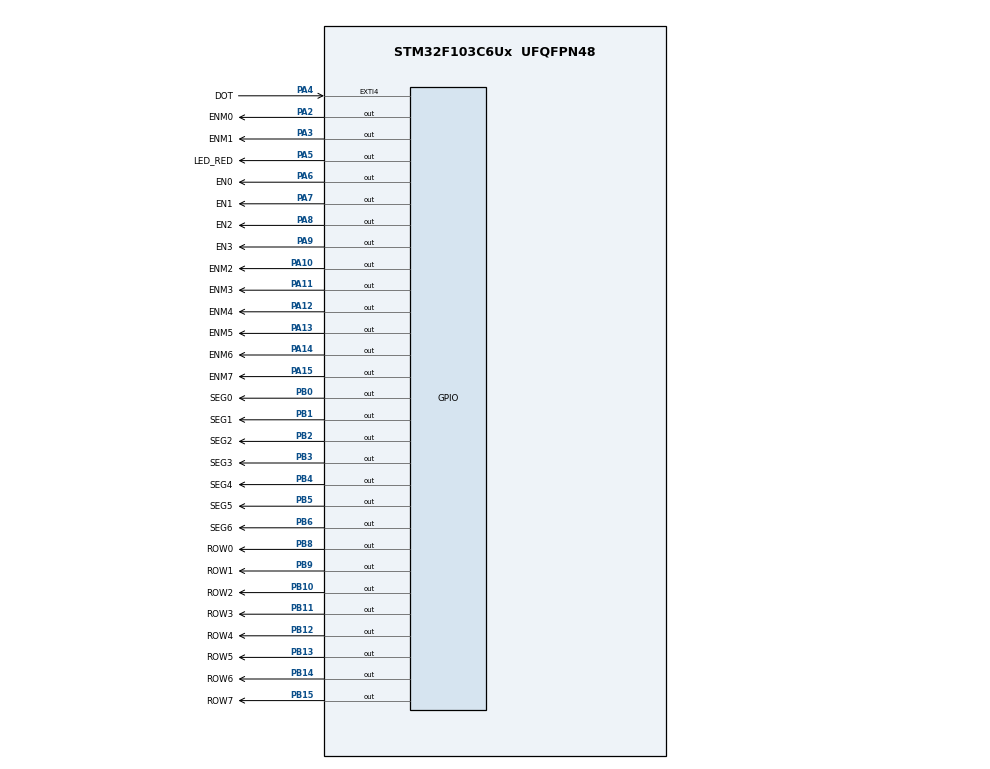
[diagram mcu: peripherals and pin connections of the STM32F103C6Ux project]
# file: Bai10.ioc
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Mcu.Family=STM32F1
Mcu.Name=STM32F103C6Ux
Mcu.Package=UFQFPN48
NVIC.PriorityGroup=NVIC_PRIORITYGROUP_4
NVIC.TIM2_IRQn=true\:0\:0\:false\:false\:true\:true\:true\:true
PA10.GPIO_Label=ENM2
PA10.Signal=GPIO_Output
PA11.GPIO_Label=ENM3
PA11.Signal=GPIO_Output
PA12.GPIO_Label=ENM4
PA12.Signal=GPIO_Output
PA13.GPIO_Label=ENM5
PA13.Signal=GPIO_Output
PA14.GPIO_Label=ENM6
PA14.Signal=GPIO_Output
PA15.GPIO_Label=ENM7
PA15.Signal=GPIO_Output
PA2.GPIO_Label=ENM0
PA2.Signal=GPIO_Output
PA3.GPIO_Label=ENM1
PA3.Signal=GPIO_Output
PA4.GPIO_Label=DOT
PA4.Signal=GPXTI4
PA5.GPIO_Label=LED_RED
PA5.Signal=GPIO_Output
PA6.GPIO_Label=EN0
PA6.Signal=GPIO_Output
PA7.GPIO_Label=EN1
PA7.Signal=GPIO_Output
PA8.GPIO_Label=EN2
PA8.Signal=GPIO_Output
PA9.GPIO_Label=EN3
PA9.Signal=GPIO_Output
PB0.GPIO_Label=SEG0
PB0.Signal=GPIO_Output
PB1.GPIO_Label=SEG1
PB1.Signal=GPIO_Output
PB10.GPIO_Label=ROW2
PB10.Signal=GPIO_Output
PB11.GPIO_Label=ROW3
PB11.Signal=GPIO_Output
PB12.GPIO_Label=ROW4
PB12.Signal=GPIO_Output
PB13.GPIO_Label=ROW5
PB13.Signal=GPIO_Output
PB14.GPIO_Label=ROW6
PB14.Signal=GPIO_Output
PB15.GPIO_Label=ROW7
PB15.Signal=GPIO_Output
PB2.GPIO_Label=SEG2
PB2.Signal=GPIO_Output
PB3.GPIO_Label=SEG3
PB3.Signal=GPIO_Output
PB4.GPIO_Label=SEG4
PB4.Signal=GPIO_Output
PB5.GPIO_Label=SEG5
PB5.Signal=GPIO_Output
PB6.GPIO_Label=SEG6
PB6.Signal=GPIO_Output
PB8.GPIO_Label=ROW0
PB8.Signal=GPIO_Output
PB9.GPIO_Label=ROW1
PB9.Signal=GPIO_Output
ProjectManager.HeapSize=0x200
ProjectManager.StackSize=0x400
ProjectManager.TargetToolchain=STM32CubeIDE
RCC.APB1Freq_Value=8000000
RCC.APB2Freq_Value=8000000
TIM2.Period=9
TIM2.Prescaler=7999
VP_SYS_VS_ND.Mode=No_Debug
VP_TIM2_VS_ClockSourceINT.Mode=Internal
board=custom

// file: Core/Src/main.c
/* USER CODE BEGIN Header */
/**
 ******************************************************************************
 * @file           : main.c
 * @brief          : Main program body
 ******************************************************************************
 * @attention
 *
 * Copyright (c) 2022 STMicroelectronics.
 * All rights reserved.
 *
 * This software is licensed under terms that can be found in the LICENSE file
 * in the root directory of this software component.
 * If no LICENSE file comes with this software, it is provided AS-IS.
 *
 ******************************************************************************
 */
/* USER CODE END Header */
#include "main.h"

TIM_HandleTypeDef htim2;

void SystemClock_Config(void);
static void MX_GPIO_Init(void);
static void MX_TIM2_Init(void);

/* USER CODE BEGIN 0 */

int timer0_counter = 0;
int timer0_flag = 0;
int TIMER_CYCLE = 10;
void setTimer0(int duration) {
	timer0_counter = duration / TIMER_CYCLE;
	timer0_flag = 0;
}

void timer_run() {
	if (timer0_counter > 0) {
		timer0_counter--;
		if (timer0_counter == 0)
			timer0_flag = 1;
	}
}

void clearLEDMatrix() {
	HAL_GPIO_WritePin(ROW0_GPIO_Port, ROW0_Pin, 1);
	HAL_GPIO_WritePin(ROW1_GPIO_Port, ROW1_Pin, 1);
	HAL_GPIO_WritePin(ROW2_GPIO_Port, ROW2_Pin, 1);
	HAL_GPIO_WritePin(ROW3_GPIO_Port, ROW3_Pin, 1);
	HAL_GPIO_WritePin(ROW4_GPIO_Port, ROW4_Pin, 1);
	HAL_GPIO_WritePin(ROW5_GPIO_Port, ROW5_Pin, 1);
	HAL_GPIO_WritePin(ROW6_GPIO_Port, ROW6_Pin, 1);
	HAL_GPIO_WritePin(ROW7_GPIO_Port, ROW7_Pin, 1);
}

void displayLEDMatrix(uint8_t num) {
	HAL_GPIO_WritePin(ENM0_GPIO_Port, ENM0_Pin, !((num >> 0) & 1));
	HAL_GPIO_WritePin(ENM1_GPIO_Port, ENM1_Pin, !((num >> 1) & 1));
	HAL_GPIO_WritePin(ENM2_GPIO_Port, ENM2_Pin, !((num >> 2) & 1));
	HAL_GPIO_WritePin(ENM3_GPIO_Port, ENM3_Pin, !((num >> 3) & 1));
	HAL_GPIO_WritePin(ENM4_GPIO_Port, ENM4_Pin, !((num >> 4) & 1));
	HAL_GPIO_WritePin(ENM5_GPIO_Port, ENM5_Pin, !((num >> 5) & 1));
	HAL_GPIO_WritePin(ENM6_GPIO_Port, ENM6_Pin, !((num >> 6) & 1));
	HAL_GPIO_WritePin(ENM7_GPIO_Port, ENM7_Pin, !((num >> 7) & 1));
}

const int MAX_LED_MATRIX = 8;
int index_led_matrix = 0;
uint8_t matrix_buffer[8] = {0x3c,0x7e,0x66,0x66,0x7e,0x66,0x66,0x66};
void updateLEDMatrix(int index) {
	switch (index) {
	case 0:
		HAL_GPIO_WritePin(ROW7_GPIO_Port, ROW7_Pin, 1);
		HAL_GPIO_WritePin(ROW0_GPIO_Port, ROW0_Pin, 0);
		displayLEDMatrix(matrix_buffer[index]);
		break;
	case 1:
		HAL_GPIO_WritePin(ROW0_GPIO_Port, ROW0_Pin, 1);
		HAL_GPIO_WritePin(ROW1_GPIO_Port, ROW1_Pin, 0);
		displayLEDMatrix(matrix_buffer[index]);
		break;
	case 2:
		HAL_GPIO_WritePin(ROW1_GPIO_Port, ROW1_Pin, 1);
		HAL_GPIO_WritePin(ROW2_GPIO_Port, ROW2_Pin, 0);
		displayLEDMatrix(matrix_buffer[index]);
		break;
	case 3:
		HAL_GPIO_WritePin(ROW2_GPIO_Port, ROW2_Pin, 1);
		HAL_GPIO_WritePin(ROW3_GPIO_Port, ROW3_Pin, 0);
		displayLEDMatrix(matrix_buffer[index]);
		break;
	case 4:
		HAL_GPIO_WritePin(ROW3_GPIO_Port, ROW3_Pin, 1);
		HAL_GPIO_WritePin(ROW4_GPIO_Port, ROW4_Pin, 0);
		displayLEDMatrix(matrix_buffer[index]);
		break;
	case 5:
		HAL_GPIO_WritePin(ROW4_GPIO_Port, ROW4_Pin, 1);
		HAL_GPIO_WritePin(ROW5_GPIO_Port, ROW5_Pin, 0);
		displayLEDMatrix(matrix_buffer[index]);
		break;
	case 6:
		HAL_GPIO_WritePin(ROW5_GPIO_Port, ROW5_Pin, 1);
		HAL_GPIO_WritePin(ROW6_GPIO_Port, ROW6_Pin, 0);
		displayLEDMatrix(matrix_buffer[index]);
		break;
	case 7:
		HAL_GPIO_WritePin(ROW6_GPIO_Port, ROW6_Pin, 1);
		HAL_GPIO_WritePin(ROW7_GPIO_Port, ROW7_Pin, 0);
		displayLEDMatrix(matrix_buffer[index]);
		break;
	default:
		break;
	}
}

void shiftLeft() {
	//shift MSB to LSB matrix_buffer [0]
	matrix_buffer[0] = (matrix_buffer[0] << 1) + (matrix_buffer[0] >> 7);
	//shift MSB to LSB matrix_buffer [1]
	matrix_buffer[1] = (matrix_buffer[1] << 1) + (matrix_buffer[1] >> 7);
	//shift MSB to LSB matrix_buffer [2]
	matrix_buffer[2] = (matrix_buffer[2] << 1) + (matrix_buffer[2] >> 7);
	//shift MSB to LSB matrix_buffer [3]
	matrix_buffer[3] = (matrix_buffer[3] << 1) + (matrix_buffer[3] >> 7);
	//shift MSB to LSB matrix_buffer [4]
	matrix_buffer[4] = (matrix_buffer[4] << 1) + (matrix_buffer[4] >> 7);
	//shift MSB to LSB matrix_buffer [5]
	matrix_buffer[5] = (matrix_buffer[5] << 1) + (matrix_buffer[5] >> 7);
	//shift MSB to LSB matrix_buffer [6]
	matrix_buffer[6] = (matrix_buffer[6] << 1) + (matrix_buffer[6] >> 7);
	//shift MSB to LSB matrix_buffer [7]
	matrix_buffer[7] = (matrix_buffer[7] << 1) + (matrix_buffer[7] >> 7);
}
/* USER CODE END 0 */

int main(void) {

	/* MCU Configuration--------------------------------------------------------*/

	/* Reset of all peripherals, Initializes the Flash interface and the Systick. */
	HAL_Init();

	/* Configure the system clock */
	SystemClock_Config();

	/* Initialize all configured peripherals */
	MX_GPIO_Init();
	MX_TIM2_Init();
	/* USER CODE BEGIN 2 */
	HAL_TIM_Base_Start_IT(&htim2);
	/* USER CODE END 2 */

	/* Infinite loop */
	/* USER CODE BEGIN WHILE */

	setTimer0(10);
	int index = 0;
	clearLEDMatrix();
	while (1) {
		if (timer0_flag == 1) {
			setTimer0(10);
			updateLEDMatrix(index++);
			if (index > 7) {
				shiftLeft();
				index = 0;
			}
		}

		/* USER CODE END WHILE */

	}
}

void SystemClock_Config(void) {
	RCC_OscInitTypeDef RCC_OscInitStruct = { 0 };
	RCC_ClkInitTypeDef RCC_ClkInitStruct = { 0 };

	/** Initializes the RCC Oscillators according to the specified parameters
	 * in the RCC_OscInitTypeDef structure.
	 */
	RCC_OscInitStruct.OscillatorType = RCC_OSCILLATORTYPE_HSI;
	RCC_OscInitStruct.HSIState = RCC_HSI_ON;
	RCC_OscInitStruct.HSICalibrationValue = RCC_HSICALIBRATION_DEFAULT;
	RCC_OscInitStruct.PLL.PLLState = RCC_PLL_NONE;
	if (HAL_RCC_OscConfig(&RCC_OscInitStruct) != HAL_OK) {
		Error_Handler();
	}

	/** Initializes the CPU, AHB and APB buses clocks
	 */
	RCC_ClkInitStruct.ClockType = RCC_CLOCKTYPE_HCLK | RCC_CLOCKTYPE_SYSCLK
			| RCC_CLOCKTYPE_PCLK1 | RCC_CLOCKTYPE_PCLK2;
	RCC_ClkInitStruct.SYSCLKSource = RCC_SYSCLKSOURCE_HSI;
	RCC_ClkInitStruct.AHBCLKDivider = RCC_SYSCLK_DIV1;
	RCC_ClkInitStruct.APB1CLKDivider = RCC_HCLK_DIV1;
	RCC_ClkInitStruct.APB2CLKDivider = RCC_HCLK_DIV1;

	if (HAL_RCC_ClockConfig(&RCC_ClkInitStruct, FLASH_LATENCY_0) != HAL_OK) {
		Error_Handler();
	}
}

static void MX_TIM2_Init(void) {

	TIM_ClockConfigTypeDef sClockSourceConfig = { 0 };
	TIM_MasterConfigTypeDef sMasterConfig = { 0 };

	htim2.Instance = TIM2;
	htim2.Init.Prescaler = 7999;
	htim2.Init.CounterMode = TIM_COUNTERMODE_UP;
	htim2.Init.Period = 9;
	htim2.Init.ClockDivision = TIM_CLOCKDIVISION_DIV1;
	htim2.Init.AutoReloadPreload = TIM_AUTORELOAD_PRELOAD_DISABLE;
	if (HAL_TIM_Base_Init(&htim2) != HAL_OK) {
		Error_Handler();
	}
	sClockSourceConfig.ClockSource = TIM_CLOCKSOURCE_INTERNAL;
	if (HAL_TIM_ConfigClockSource(&htim2, &sClockSourceConfig) != HAL_OK) {
		Error_Handler();
	}
	sMasterConfig.MasterOutputTrigger = TIM_TRGO_RESET;
	sMasterConfig.MasterSlaveMode = TIM_MASTERSLAVEMODE_DISABLE;
	if (HAL_TIMEx_MasterConfigSynchronization(&htim2, &sMasterConfig)
			!= HAL_OK) {
		Error_Handler();
	}

}

static void MX_GPIO_Init(void) {
	GPIO_InitTypeDef GPIO_InitStruct = { 0 };

	/* GPIO Ports Clock Enable */
	__HAL_RCC_GPIOA_CLK_ENABLE();
	__HAL_RCC_GPIOB_CLK_ENABLE();

	/*Configure GPIO pin Output Level */
	HAL_GPIO_WritePin(GPIOA,
			ENM0_Pin | ENM1_Pin | DOT_Pin | LED_RED_Pin | EN0_Pin | EN1_Pin
					| EN2_Pin | EN3_Pin | ENM2_Pin | ENM3_Pin | ENM4_Pin
					| ENM5_Pin | ENM6_Pin | ENM7_Pin, GPIO_PIN_RESET);

	/*Configure GPIO pin Output Level */
	HAL_GPIO_WritePin(GPIOB,
			SEG0_Pin | SEG1_Pin | SEG2_Pin | ROW2_Pin | ROW3_Pin | ROW4_Pin
					| ROW5_Pin | ROW6_Pin | ROW7_Pin | SEG3_Pin | SEG4_Pin
					| SEG5_Pin | SEG6_Pin | ROW0_Pin | ROW1_Pin,
			GPIO_PIN_RESET);

	/*Configure GPIO pins : ENM0_Pin ENM1_Pin DOT_Pin LED_RED_Pin
	 EN0_Pin EN1_Pin EN2_Pin EN3_Pin
	 ENM2_Pin ENM3_Pin ENM4_Pin ENM5_Pin
	 ENM6_Pin ENM7_Pin */
	GPIO_InitStruct.Pin = ENM0_Pin | ENM1_Pin | DOT_Pin | LED_RED_Pin | EN0_Pin
			| EN1_Pin | EN2_Pin | EN3_Pin | ENM2_Pin | ENM3_Pin | ENM4_Pin
			| ENM5_Pin | ENM6_Pin | ENM7_Pin;
	GPIO_InitStruct.Mode = GPIO_MODE_OUTPUT_PP;
	GPIO_InitStruct.Pull = GPIO_NOPULL;
	GPIO_InitStruct.Speed = GPIO_SPEED_FREQ_LOW;
	HAL_GPIO_Init(GPIOA, &GPIO_InitStruct);

	/*Configure GPIO pins : SEG0_Pin SEG1_Pin SEG2_Pin ROW2_Pin
	 ROW3_Pin ROW4_Pin ROW5_Pin ROW6_Pin
	 ROW7_Pin SEG3_Pin SEG4_Pin SEG5_Pin
	 SEG6_Pin ROW0_Pin ROW1_Pin */
	GPIO_InitStruct.Pin = SEG0_Pin | SEG1_Pin | SEG2_Pin | ROW2_Pin | ROW3_Pin
			| ROW4_Pin | ROW5_Pin | ROW6_Pin | ROW7_Pin | SEG3_Pin | SEG4_Pin
			| SEG5_Pin | SEG6_Pin | ROW0_Pin | ROW1_Pin;
	GPIO_InitStruct.Mode = GPIO_MODE_OUTPUT_PP;
	GPIO_InitStruct.Pull = GPIO_NOPULL;
	GPIO_InitStruct.Speed = GPIO_SPEED_FREQ_LOW;
	HAL_GPIO_Init(GPIOB, &GPIO_InitStruct);

}

/* USER CODE BEGIN 4 */
void HAL_TIM_PeriodElapsedCallback(TIM_HandleTypeDef *htim) {
	timer_run();
}
/* USER CODE END 4 */

void Error_Handler(void) {
	__disable_irq();
	while (1) {
	}
}
